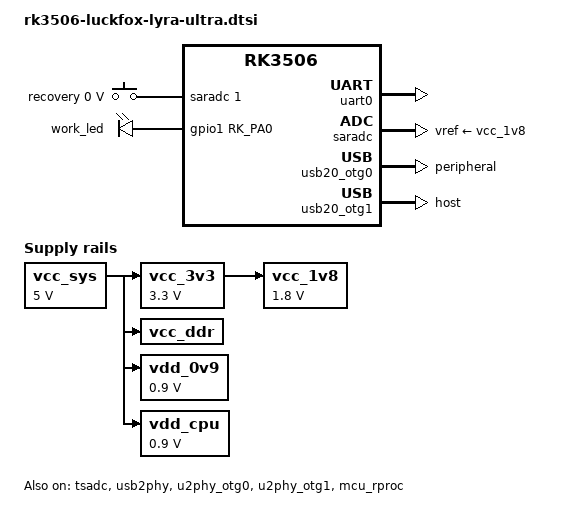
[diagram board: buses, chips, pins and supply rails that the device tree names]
// SPDX-License-Identifier: (GPL-2.0+ OR MIT)
/*
 * Copyright (c) 2024 Rockchip Electronics Co., Ltd.
 */

/dts-v1/;


#include <dt-bindings/pinctrl/rockchip.h>
#include <dt-bindings/display/drm_mipi_dsi.h>
#include <dt-bindings/display/rockchip_vop.h>
#include <dt-bindings/input/rk-input.h>
#include <dt-bindings/sensor-dev.h>
#include <dt-bindings/suspend/rockchip-rk3506.h>
#include "rk3506.dtsi"

/ {
	/*
	 * adc-keys needs at least one child key; without one the driver returns
	 * -EINVAL ("probe of adc-keys failed with error -22").
	 *
	 * Channel 1 is the RECOVER button (net SARADC_IN1_RECOVER), which pulls the
	 * input to ground when pressed, so its press threshold is 0 V.
	 *
	 * keyup-threshold is lowered from the vendor's 1800 mV because it must sit
	 * BELOW the idle reading, not at it: measured on this board, channel 1 idles
	 * at raw 1020 x 1.7578 mV = ~1793 mV. Against a 1800 mV keyup threshold the
	 * driver sees 1793 < 1800, concludes a key is down and latches a phantom
	 * press. 1700 mV leaves headroom while staying far above a real press.
	 */
	adc_keys: adc-keys {
		compatible = "adc-keys";
		io-channels = <&saradc 1>;
		io-channel-names = "buttons";
		keyup-threshold-microvolt = <1700000>;
		poll-interval = <100>;

		button-recovery {
			label = "recovery";
			linux,code = <KEY_VENDOR>;
			press-threshold-microvolt = <0>;
		};
	};

	fiq_debugger: fiq-debugger {
		compatible = "rockchip,fiq-debugger";
		rockchip,serial-id = <0>;
		rockchip,wake-irq = <0>;
		rockchip,irq-mode-enable = <1>;
		rockchip,baudrate = <1500000>;	/* Only 115200 and 1500000 */
		interrupts = <GIC_SPI 115 IRQ_TYPE_LEVEL_HIGH>;
		status = "disabled";
	};

	leds: leds {
		compatible = "gpio-leds";
		work_led: work-led {
			gpios = <&gpio1 RK_PA0 GPIO_ACTIVE_HIGH>;
			linux,default-trigger = "heartbeat";
		};
	};

	vcc_sys: vcc-sys {
		compatible = "regulator-fixed";
		regulator-name = "vcc_sys";
		regulator-always-on;
		regulator-boot-on;
		regulator-min-microvolt = <5000000>;
		regulator-max-microvolt = <5000000>;
	};

	vcc_3v3: vcc-3v3 {
		compatible = "regulator-fixed";
		regulator-name = "vcc_3v3";
		regulator-always-on;
		regulator-boot-on;
		regulator-min-microvolt = <3300000>;
		regulator-max-microvolt = <3300000>;
		vin-supply = <&vcc_sys>;
	};

	vcc_1v8: vcc-1v8 {
		compatible = "regulator-fixed";
		regulator-name = "vcc_1v8";
		regulator-always-on;
		regulator-boot-on;
		regulator-min-microvolt = <1800000>;
		regulator-max-microvolt = <1800000>;
		vin-supply = <&vcc_3v3>;
	};

	//1.8V
	vcc_ddr: vcc-ddr {
		compatible = "regulator-fixed";
		regulator-name = "vcc_ddr";
		regulator-always-on;
		regulator-boot-on;
		vin-supply = <&vcc_sys>;
	};

	vdd_0v9: vdd-0v9 {
		compatible = "regulator-fixed";
		regulator-name = "vdd_0v9";
		regulator-always-on;
		regulator-boot-on;
		regulator-min-microvolt = <900000>;
		regulator-max-microvolt = <900000>;
		vin-supply = <&vcc_sys>;
	};

	/*
	 * CPU rail.
	 *
	 * Two bugs fixed here versus the vendor dtsi:
	 *
	 * 1. vin-supply pointed at &vdd_cpu -- the node itself. That circular
	 *    dependency meant the regulator never resolved, so cpufreq-dt failed
	 *    with "cpu cpu0: failed to get cpu0 reg" / "failed to init cpufreq"
	 *    and the CPU stayed pinned at whatever the bootloader left it (1.2 GHz).
	 *    It is fed from vcc_sys.
	 *
	 * 2. It declared a 0.5-1.5 V *range* on a regulator-fixed, which reports a
	 *    single voltage (the min, 0.5 V). No OPP accepts 0.5 V, so every
	 *    dev_pm_opp voltage request would have been rejected.
	 *
	 * There is no adjustable CPU regulator on this board -- no PMIC and no PWM
	 * regulator -- so true DVFS is not possible; the rail is static and only
	 * the frequency scales. 900 mV is not a guess: cpu0_opp_table in
	 * rk3502.dtsi gives every OPP a max of 1100 mV, with a min of 850 mV up to
	 * 1512 MHz and 950 mV for 1608 MHz. The board boots stable at 1200 MHz,
	 * whose OPP requires 900 mV, so the real rail is at least that. Declaring
	 * 900 mV therefore satisfies every OPP from 600 MHz to 1512 MHz and
	 * naturally excludes only the 1608 MHz point, which the table says needs
	 * 950 mV. That keeps us inside vendor spec instead of overclocking onto an
	 * unverified rail.
	 */
	/*
	 * ---- ADDED BY meta-luckfox-lyra (not vendor) ----
	 *
	 * Cortex-M0 sidecar, driven by the out-of-tree rk3506_rproc remoteproc
	 * driver (see recipes-kernel/rk3506-rproc). Rockchip ships no M0
	 * remoteproc support, and rk3506.dtsi has no mcu node at all, so this
	 * describes it here.
	 *
	 * reg is the SRAM window the firmware is loaded into. The driver maps
	 * it as the M0's TCM at M0-address 0 via an ATF SMC, so firmware must
	 * be linked at 0x00000000.
	 *
	 * 32 KiB at 0xFFF84000: upstream keeps that branch behind `#if 0` and
	 * defaults to 16 KiB at 0xFFF88000, but this layer patches the 32 KiB
	 * window on so firmware can grow past 16 KiB. The driver ioremaps
	 * its own hardcoded values and does not read this reg, but keep them in
	 * step so the DT is not lying about the hardware.
	 *
	 * Note: once the M0 is running this SRAM is no longer accessible from
	 * the A7 side, so reloading firmware requires stopping the M0 first.
	 */
	mcu_rproc: mcu@fff84000 {
		compatible = "rockchip,rk3506-mcu";
		reg = <0xfff84000 0x8000>;
		firmware-name = "rk3506-m0.elf";
		/*
		 * Any peripheral the M0 drives must have its clocks and pins held
		 * by this node, on the M0's behalf -- the same trick Rockchip's
		 * rk3506-amp.dtsi uses for its remote core. A board or project that
		 * gives the M0 a UART appends to this node: its clocks to clocks,
		 * its pins to a "default" pinctrl. The driver calls
		 * devm_clk_bulk_get_all(), so everything listed here is prepared and
		 * enabled, and the platform core applies the "default" pinctrl on
		 * probe without the driver having to ask.
		 *
		 * This is not optional bookkeeping: the CRU gates clocks nobody
		 * claims, and an APB access from the M0 to an unclocked peripheral
		 * stalls the bus and wedges that core with no diagnostic at all --
		 * it presents as firmware that runs its first few instructions and
		 * then stops. Enabling the UARTs as Linux ttyS devices would also
		 * keep the clocks up, but then Linux owns peripherals it must never
		 * touch.
		 */
		clocks = <&cru HCLK_M0>, <&cru STCLK_M0>,
			 <&cru PCLK_MAILBOX>, <&cru PCLK_INTMUX>;
		clock-names = "hclk_m0", "stclk_m0",
			      "pclk_mailbox", "pclk_intmux";

		/*
		 * Mailbox 0 interrupt (GIC SPI 138), taken directly rather than
		 * through Linux's mailbox driver.
		 *
		 * The M0 uses it to say "I have produced data", so the host does
		 * not have to sweep the shared-memory rings on a timer. mailbox0
		 * itself stays disabled: a mailbox client in Linux would claim the
		 * block and its channels, and there is nothing here for the generic
		 * framework to carry -- the payload is the ring, the mailbox is
		 * only the doorbell. Holding PCLK_MAILBOX above is what keeps the
		 * block alive without that driver.
		 */
		interrupts = <GIC_SPI 138 IRQ_TYPE_LEVEL_HIGH>;
		interrupt-names = "mbox";
		/*
		 * SRST_P_MAILBOX is here because nothing else deasserts it: the
		 * mailbox node stays disabled, so Linux's mailbox driver -- which
		 * would normally take the reset -- never probes. Clocked but held
		 * in reset, the block accepts register writes and reads them back
		 * happily while latching no status and raising no interrupt, which
		 * is a memorably confusing way to fail.
		 */
		/*
		 * INTMUX is how a peripheral interrupt reaches the M0 at all: the
		 * NVIC has 32 lines, and lines 28-31 are fed by a 128-to-4 mux
		 * whose sources are all masked at reset. It is also gated and
		 * held in reset at power-on (pclk_intmux_en resets to 0), and an
		 * APB write to it then disappears without a fault -- the mask
		 * register simply reads back zero. Same failure as the mailbox
		 * above, and the M0 needs both blocks alive to be interrupted by
		 * anything.
		 */
		resets = <&cru SRST_H_M0>, <&cru SRST_M0_JTAG>,
			 <&cru SRST_HRESETN_M0_AC>, <&cru SRST_P_MAILBOX>,
			 <&cru SRST_P_INTMUX>;
		reset-names = "h_m0", "m0_jtag", "hresetn_m0_ac", "p_mailbox",
			      "p_intmux";
		status = "okay";
	};

	vdd_cpu: vdd-cpu {
		compatible = "regulator-fixed";
		regulator-name = "vdd_cpu";
		regulator-boot-on;
		regulator-always-on;
		regulator-min-microvolt = <900000>;
		regulator-max-microvolt = <900000>;
		vin-supply = <&vcc_sys>;
	};
};

/**********cpu**********/
&cpu0 {
	cpu-supply = <&vdd_cpu>;
	status = "okay";
};

/*********uart0*********/
&uart0 {
	status = "okay";
};

/**********adc**********/
&saradc {
	vref-supply = <&vcc_1v8>;
	status = "okay";
};

&tsadc {
	pinctrl-names = "gpio", "otpout";
	pinctrl-0 = <&wdt_tsadc_gpio>;
	pinctrl-1 = <&rm_io21_wdt_tsadc_shut>;

	status = "okay";
};

/**********usb**********/
&usb20_otg0 {
	dr_mode = "peripheral";
	/* vbus-supply = <&vcc5v0_otg0>;
	rockchip,gpio-vbus-det; */
	status = "okay";
};

&usb20_otg1 {
	dr_mode = "host";
	status = "okay";
};

&usb2phy {
	/* extcon = <&extcon_usb>; */
	status = "okay";
};

&u2phy_otg0 {
	status = "okay";
};

&u2phy_otg1 {
	status = "okay";
};

/**********pinctrl**********/
&pinctrl {
	sdmmc {
		/omit-if-no-ref/
		sdmmc_pwren: sdmmc-pwren {
			rockchip,pins = <1 RK_PB7 RK_FUNC_GPIO &pcfg_pull_down>;
		};

		sdmmc_det: sdmmc-det {
			rockchip,pins = <1 RK_PB6 RK_FUNC_GPIO &pcfg_pull_up>;
		};
	};

	tsadc {
		wdt_tsadc_gpio: wdt-tsadc-gpio {
			rockchip,pins = <0 RK_PC5 RK_FUNC_GPIO &pcfg_pull_none>;
		};
	};
};

/*
 * ---- ADDED BY meta-luckfox-lyra (not vendor) ----
 *
 * DDR window shared between Linux and the Cortex-M0.
 *
 * The rk3506_rproc driver maps 0x03C00000 (1 MiB) so firmware linked against
 * that address can exchange data with Linux. It must be carved out of the
 * kernel's memory or the page allocator will hand it to someone else and the
 * M0 will corrupt it. Nothing else reserves it -- the existing reservations in
 * rk3502.dtsi (trust@0, ramoops@83000, cma, drm-logo) are all low memory.
 *
 * "no-map" keeps the kernel from creating a cached linear mapping for it,
 * which matters because the M0 writes it without participating in A7 cache
 * coherency.
 *
 * This is also the only practical place for M0 status: the SRAM the firmware
 * runs from becomes inaccessible to the A7 side once the core is released.
 */
&reserved_memory {
	mcu_shmem: mcu-shmem@3c00000 {
		reg = <0x03c00000 0x100000>;
		no-map;
	};
};
